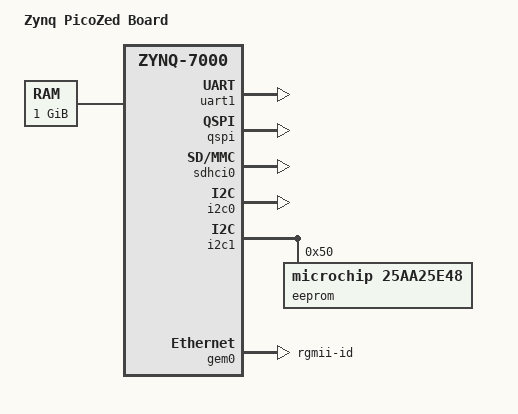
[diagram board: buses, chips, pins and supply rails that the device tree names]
// SPDX-License-Identifier: GPL-2.0+
/*
 * Avnet PicoZed board DTS
 *
 * Copyright (C) 2015 Xilinx, Inc.
 */
/dts-v1/;
#include "zynq-7000.dtsi"

/ {
	model = "Zynq PicoZed Board";
	compatible = "xlnx,zynq-picozed", "xlnx,zynq-7000";

	aliases {
		serial0 = &uart1;
		spi0 = &qspi;
		mmc0 = &sdhci0;
	};

	memory@0 {
		device_type = "memory";
		reg = <0 0x40000000>;
	};
};

&uart1 {
	bootph-all;
	status = "okay";
};

&qspi {
	bootph-all;
	status = "okay";
};

&sdhci0 {
	bootph-all;
	status = "okay";
};

&i2c0 {
	bootph-all;
	status = "okay";
};

&i2c1 {
	bootph-all;
	status = "okay";

	eeprom: eeprom@50 {
		compatible = "microchip,25aa25e48";
		reg = <0x50>;
	};
};

&gem0 {
	status = "okay";
	phy-mode = "rgmii-id";
};
